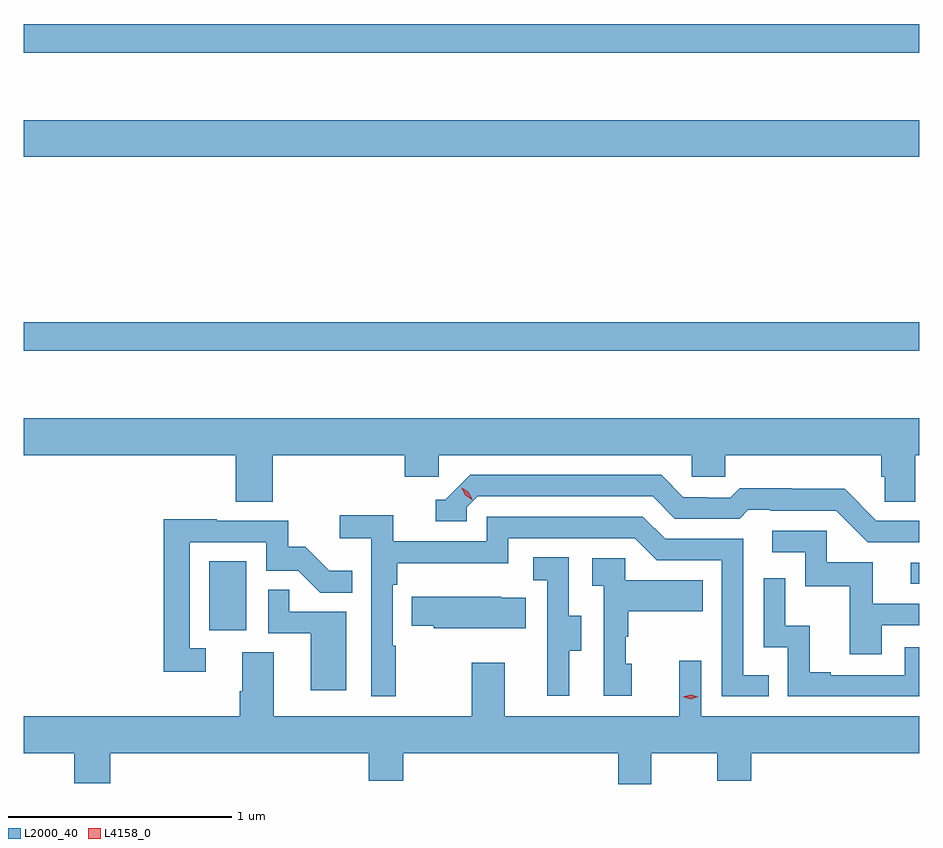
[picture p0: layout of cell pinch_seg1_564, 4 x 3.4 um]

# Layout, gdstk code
import gdstk
lib = gdstk.Library(unit=1e-6, precision=1e-09)
def R(c, l, rs):  # rectangles x0, y0, x1, y1
    for r in rs: c.add(gdstk.rectangle(r[:2], r[2:], *l))
def P(c, l, *ps):  # polygons
    for p in ps: c.add(gdstk.Polygon(p, *l))
L2000_40 = (2000, 40)
L4158_0 = (4158, 0)

pinch_seg1_564 = lib.new_cell('pinch_seg1_564')
R(pinch_seg1_564, L2000_40, [(1067.084,513.654,1067.248,513.961), (1070.217,513.861,1070.255,513.954), (1066.255,514.902,1070.255,515.03), (1066.255,515.768,1070.255,515.932), (1066.255,516.234,1070.255,516.362)])
P(pinch_seg1_564, L2000_40, [(1067.366,514.436),(1067.957,514.436),(1067.957,514.338),(1068.108,514.338),(1068.108,514.436),(1069.239,514.436),(1069.239,514.338),(1069.389,514.338),(1069.389,514.436),(1070.087,514.436),(1070.087,514.338),(1070.101,514.338),(1070.101,514.228),(1070.238,514.228),(1070.238,514.436),(1070.255,514.436),(1070.255,514.6),(1066.255,514.6),(1066.255,514.436),(1067.201,514.436),(1067.201,514.228),(1067.366,514.228)],
  [(1070.255,514.143),(1070.064,514.143),(1069.922,514.285),(1069.686,514.285),(1069.686,514.288),(1069.453,514.288),(1069.411,514.245),(1069.308,514.245),(1069.308,514.248),(1069.201,514.248),(1069.102,514.347),(1068.249,514.347),(1068.138,514.236),(1068.095,514.236),(1068.095,514.14),(1068.234,514.14),(1068.234,514.203),(1068.282,514.251),(1069.065,514.251),(1069.164,514.152),(1069.453,514.152),(1069.492,514.191),(1069.591,514.191),(1069.591,514.188),(1069.884,514.188),(1070.025,514.047),(1070.255,514.047)],
  [(1067.917,513.584),(1067.904,513.584),(1067.904,513.857),(1067.924,513.857),(1067.924,513.953),(1068.42,513.953),(1068.42,514.065),(1068.984,514.065),(1069.083,513.966),(1069.374,513.966),(1069.374,513.357),(1069.583,513.357),(1069.583,513.453),(1069.47,513.453),(1069.47,514.062),(1069.12,514.062),(1069.021,514.161),(1068.324,514.161),(1068.324,514.05),(1067.906,514.05),(1067.906,514.166),(1067.667,514.166),(1067.667,514.064),(1067.808,514.064),(1067.808,513.357),(1067.917,513.357)],
  [(1067.068,513.573),(1066.995,513.573),(1066.995,514.047),(1067.337,514.047),(1067.337,513.918),(1067.481,513.918),(1067.579,513.82),(1067.723,513.82),(1067.723,513.919),(1067.619,513.919),(1067.512,514.026),(1067.436,514.026),(1067.436,514.143),(1067.117,514.143),(1067.117,514.148),(1066.879,514.148),(1066.879,513.468),(1067.068,513.468)],
  [(1070.089,513.675),(1070.255,513.675),(1070.255,513.771),(1070.047,513.771),(1070.047,513.957),(1069.842,513.957),(1069.842,514.098),(1069.599,514.098),(1069.599,514.002),(1069.746,514.002),(1069.746,513.849),(1069.945,513.849),(1069.945,513.546),(1070.089,513.546)],
  [(1068.691,513.562),(1068.745,513.562),(1068.745,513.717),(1068.69,513.717),(1068.69,513.98),(1068.531,513.98),(1068.531,513.877),(1068.594,513.877),(1068.594,513.573),(1068.593,513.573),(1068.593,513.36),(1068.691,513.36)],
  [(1068.97,513.504),(1068.945,513.504),(1068.945,513.623),(1068.955,513.623),(1068.955,513.737),(1069.289,513.737),(1069.289,513.877),(1068.942,513.877),(1068.942,513.975),(1068.795,513.975),(1068.795,513.851),(1068.846,513.851),(1068.846,513.36),(1068.97,513.36)],
  [(1070.255,513.576),(1070.19,513.576),(1070.19,513.453),(1069.861,513.453),(1069.861,513.466),(1069.766,513.466),(1069.766,513.674),(1069.656,513.674),(1069.656,513.886),(1069.56,513.886),(1069.56,513.576),(1069.668,513.576),(1069.668,513.357),(1070.255,513.357)],
  [(1067.695,513.735),(1067.441,513.735),(1067.441,513.833),(1067.346,513.833),(1067.346,513.639),(1067.537,513.639),(1067.537,513.384),(1067.695,513.384)],
  [(1068.497,513.799),(1068.389,513.799),(1068.389,513.802),(1067.989,513.802),(1067.989,513.673),(1068.087,513.673),(1068.087,513.662),(1068.497,513.662)],
  [(1069.059,513.104),(1069.354,513.104),(1069.354,512.98),(1069.505,512.98),(1069.505,513.104),(1070.255,513.104),(1070.255,513.268),(1069.281,513.268),(1069.281,513.517),(1069.184,513.517),(1069.184,513.268),(1068.403,513.268),(1068.403,513.508),(1068.256,513.508),(1068.256,513.268),(1067.371,513.268),(1067.371,513.554),(1067.231,513.554),(1067.231,513.38),(1067.219,513.38),(1067.219,513.268),(1066.255,513.268),(1066.255,513.104),(1066.48,513.104),(1066.48,512.969),(1066.64,512.969),(1066.64,513.104),(1067.795,513.104),(1067.795,512.98),(1067.951,512.98),(1067.951,513.104),(1068.911,513.104),(1068.911,512.966),(1069.059,512.966)])
P(pinch_seg1_564, L4158_0, [(1068.258,514.237),(1068.227,514.257),(1068.211,514.289),(1068.211,514.29),(1068.211,514.29),(1068.242,514.27),(1068.258,514.237),(1068.258,514.237)],
  [(1069.234,513.345),(1069.199,513.355),(1069.199,513.355),(1069.199,513.355),(1069.234,513.365),(1069.269,513.355),(1069.269,513.355),(1069.269,513.355)])

lib.write_gds('pinch_seg1_564.gds')
